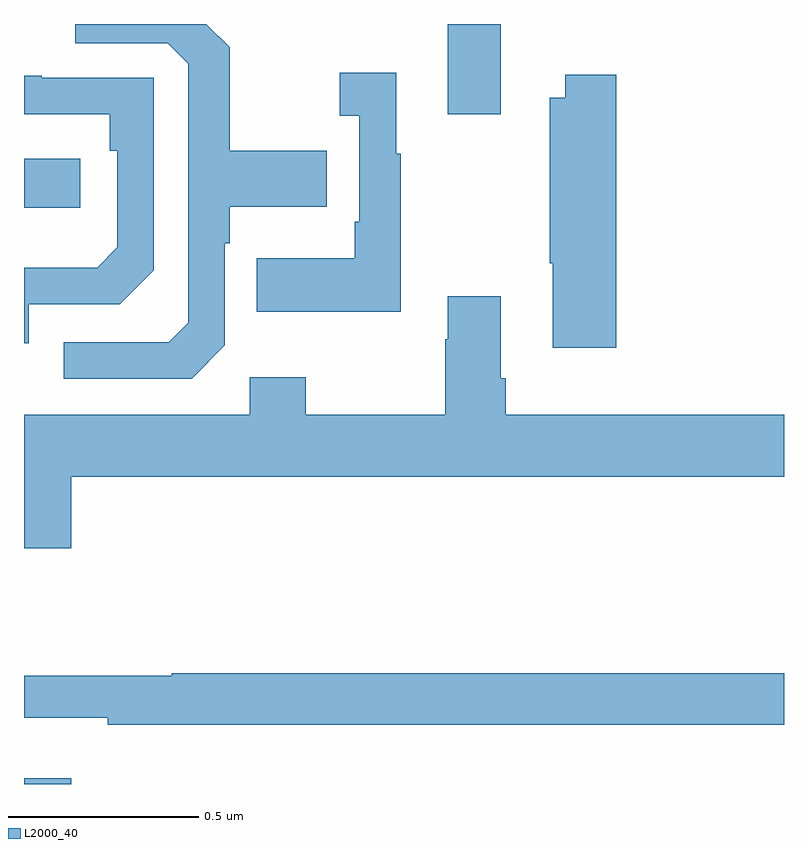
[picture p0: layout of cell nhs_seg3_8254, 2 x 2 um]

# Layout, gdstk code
import gdstk
lib = gdstk.Library(unit=1e-6, precision=1e-09)
def R(c, l, rs):  # rectangles x0, y0, x1, y1
    for r in rs: c.add(gdstk.rectangle(r[:2], r[2:], *l))
def P(c, l, *ps):  # polygons
    for p in ps: c.add(gdstk.Polygon(p, *l))
L2000_40 = (2000, 40)

nhs_seg3_8254 = lib.new_cell('nhs_seg3_8254')
R(nhs_seg3_8254, L2000_40, [(213,741.4,213.124,741.415), (213,742.916,213.148,743.046), (214.115,743.163,214.255,743.4)])
P(nhs_seg3_8254, L2000_40, [(213.528,742.554),(213.528,742.823),(213.541,742.823),(213.541,742.919),(213.797,742.919),(213.797,743.067),(213.541,743.067),(213.541,743.339),(213.48,743.4),(213.135,743.4),(213.135,743.349),(213.378,743.349),(213.432,743.295),(213.432,742.614),(213.381,742.563),(213.105,742.563),(213.105,742.467),(213.441,742.467)],
  [(213.991,743.059),(213.979,743.059),(213.979,743.272),(213.831,743.272),(213.831,743.159),(213.882,743.159),(213.882,742.879),(213.87,742.879),(213.87,742.783),(213.613,742.783),(213.613,742.643),(213.991,742.643)],
  [(214.559,743.266),(214.424,743.266),(214.424,743.206),(214.384,743.206),(214.384,742.771),(214.391,742.771),(214.391,742.548),(214.559,742.548)],
  [(213.012,742.662),(213.252,742.662),(213.342,742.752),(213.342,743.259),(213.047,743.259),(213.047,743.264),(213,743.264),(213,743.163),(213.226,743.163),(213.226,743.066),(213.246,743.066),(213.246,742.812),(213.193,742.759),(213,742.759),(213,742.56),(213.012,742.56)],
  [(213.124,742.208),(215,742.208),(215,742.372),(214.268,742.372),(214.268,742.468),(214.255,742.468),(214.255,742.684),(214.115,742.684),(214.115,742.571),(214.108,742.571),(214.108,742.372),(213.741,742.372),(213.741,742.471),(213.594,742.471),(213.594,742.372),(213,742.372),(213,742.02),(213.124,742.02)],
  [(215,741.692),(213.389,741.692),(213.389,741.685),(213,741.685),(213,741.575),(213.22,741.575),(213.22,741.556),(215,741.556)])

lib.write_gds('nhs_seg3_8254.gds')
